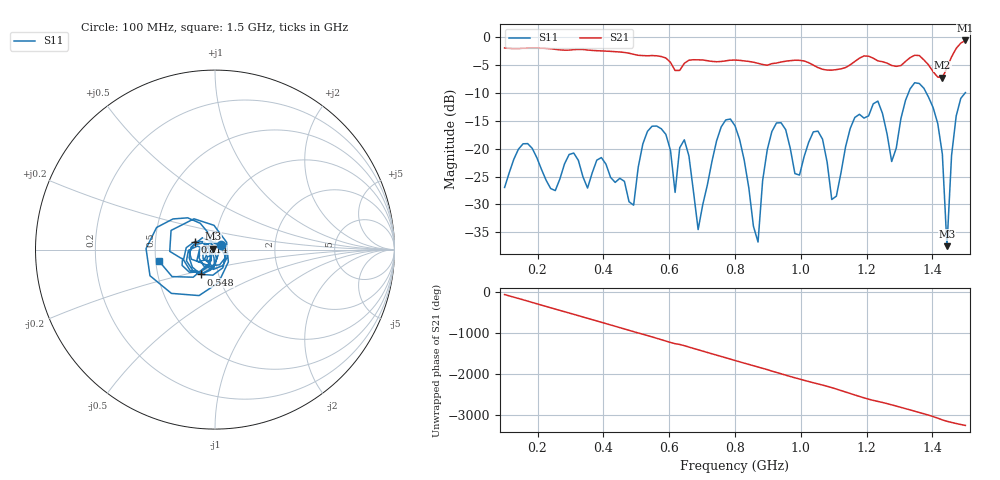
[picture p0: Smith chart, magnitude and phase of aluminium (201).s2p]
! NanoVNA-App
! Date: 2025-09-25 14:56:50
! Start: 100MHz Stop: 1,5GHz Points: 101
! S-Parameter data: F S11 S21 S12 S22
# Hz S RI R 50
!  Frequency  S11_Real  S11_Imag  S21_Real  S21_Imag  S12_Real  S12_Imag  S22_Real  S22_Imag
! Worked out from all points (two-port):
!   101 points, 100 MHz to 1.5 GHz, reference 50 ohm
!   highest |S21| = -0.58 dB at 1.5 GHz (marker M1); lowest = -7.3 dB at 1.43 GHz (marker M2)
!   |S21| within 3 dB of the highest: start of sweep to 582 MHz; 1.458 GHz to end of sweep (the widest 2 of 4)
!   lowest |S11| = -37.5 dB at 1.444 GHz (marker M3), VSWR 1.03, Z = 48.8 + j0.424 ohm
!   |S11| at or under -10 dB: start of sweep to 1.327 GHz; 1.381 GHz to 1.499 GHz (117.9 MHz wide, 8.19 % of centre)
!   S12 and S22 are empty: the file has one direction only
!   S11 on the Smith chart (normalised r, x): 100 MHz: 1.07, +0.06; 548 MHz: 0.82, -0.23; 814 MHz: 0.80, +0.07; 1.5 GHz: 0.52, -0.07
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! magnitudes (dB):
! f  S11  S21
! 100 MHz  -27.0  -1.9
! 338 MHz  -25.0  -2.2
! 492 MHz  -30.1  -3.1
! 548 MHz  -16.0  -3.3
! 576 MHz  -16.4  -3.5
! 618 MHz  -27.8  -6.0
! 646 MHz  -18.4  -4.7
! 688 MHz  -34.5  -4.1
! 800 MHz  -15.9  -4.1
! 814 MHz  -18.3  -4.2
! 870 MHz  -36.8  -4.7
! 912 MHz  -16.9  -4.7
! 996 MHz  -24.7  -4.2
! 1.038 GHz  -17.0  -5.0
! 1.094 GHz  -29.1  -5.9
! 1.22 GHz  -12.0  -3.8
! 1.276 GHz  -22.3  -5.1
! 1.346 GHz  -8.2  -3.2
! 1.43 GHz  -21.0  -7.3
! 1.444 GHz  -37.5  -5.5
! 1.472 GHz  -14.2  -2.0
! 1.5 GHz  -9.9  -0.6
